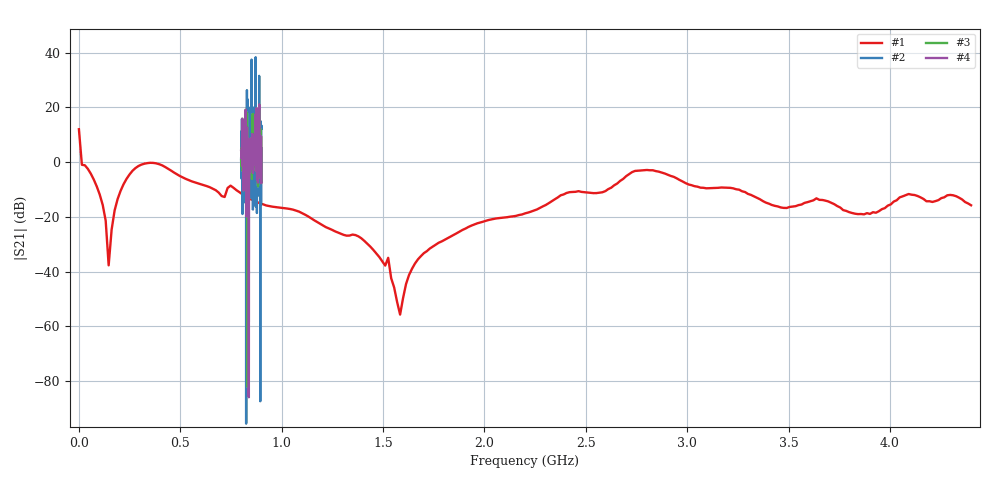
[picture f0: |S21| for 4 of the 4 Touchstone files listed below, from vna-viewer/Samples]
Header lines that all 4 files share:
!File created by NanoVNA-F V2
# Hz S RI R 50
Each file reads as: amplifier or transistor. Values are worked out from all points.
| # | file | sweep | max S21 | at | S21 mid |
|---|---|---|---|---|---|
| 1 | SJ000003.s2p | 10 kHz to 4.4 GHz | 12.0 dB | 10 kHz | -18.7 dB at 2.2 GHz |
| 2 | SJ000005.s2p | 800 MHz to 900 MHz | 38.3 dB | 871.3 MHz | -3.7 dB at 850 MHz |
| 3 | SJ000006.s2p | 800 MHz to 900 MHz | 18.8 dB | 889 MHz | 1.6 dB at 850 MHz |
| 4 | SJ000007.s2p | 800 MHz to 900 MHz | 21.1 dB | 889 MHz | 0.8 dB at 850 MHz |
